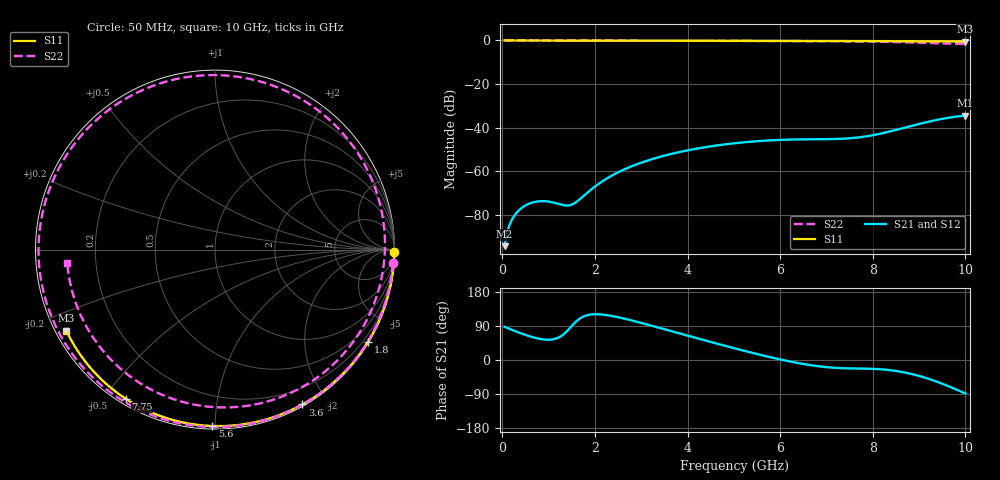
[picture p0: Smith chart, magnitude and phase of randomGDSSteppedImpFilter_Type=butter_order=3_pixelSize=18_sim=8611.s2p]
! freq	dB(S11)	phase(S11)	dB(S12)	phase(S12)
!  dB(S21)	phase(S21)	dB(S22)	phase(S22)
!S-par simulation data
#  GHz  S  DB  R 50
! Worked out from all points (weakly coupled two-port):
!   200 points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, 50 MHz to 10 GHz, reference 50 ohm
!   highest |S21| = -34.52 dB at 10 GHz (marker M1); lowest = -94.5 dB at 50 MHz (marker M2)
!   lowest |S11| = -0.5 dB at 10 GHz (marker M3), VSWR 34.21, Z = 1.56 - j12.7 ohm
!   |S11| at or under -10 dB: nowhere
!   |S22| runs from -1.6 to 0.0 dB; largest |S21 - S12| = 0
!   S11 on the Smith chart (normalised r, x): 50 MHz: open; 1.8 GHz: 0.03, -3.60; 3.6 GHz: 0.02, -1.71; 5.6 GHz: 0.02, -0.99; 7.75 GHz: 0.02, -0.57; 10 GHz: 0.03, -0.25
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0.05  -0.01 -0.9  -94.45 87.5  -94.45 87.5  -0.05 -4.3
0.25  -0.01 -4.4  -80.79 77.5  -80.79 77.5  -0.05 -20.9
0.4  -0.01 -7.0  -77.22 70.5  -77.22 70.5  -0.06 -33.2
0.85  -0.02 -14.8  -73.77 54.9  -73.77 54.9  -0.08 -67.6
1.45  -0.03 -25.1  -75.68 83.1  -75.68 83.1  -0.11 -106.1
1.75  -0.04 -30.2  -71.51 114.5  -71.51 114.5  -0.12 -122.4
1.8  -0.04 -31.1  -70.58 116.9  -70.58 116.9  -0.12 -125.0
2.55  -0.06 -43.6  -60.03 111.5  -60.03 111.5  -0.14 -159.1
3.4  -0.08 -57.4  -53.47 84.6  -53.47 84.6  -0.15 168.5
3.6  -0.08 -60.5  -52.36 77.8  -52.36 77.8  -0.16 161.3
4.3  -0.10 -71.4  -49.29 54.2  -49.29 54.2  -0.18 137.0
5.05  -0.13 -82.8  -47.12 29.7  -47.12 29.7  -0.21 110.8
5.6  -0.15 -90.8  -46.11 12.8  -46.11 12.8  -0.24 90.9
6.15  -0.18 -98.7  -45.55 -2.4  -45.55 -2.4  -0.28 69.9
6.7  -0.21 -106.5  -45.36 -14.4  -45.36 -14.4  -0.32 47.3
7.25  -0.24 -114.1  -45.20 -21.1  -45.20 -21.1  -0.39 22.6
7.75  -0.28 -120.9  -44.37 -22.6  -44.37 -22.6  -0.49 -2.2
8.35  -0.33 -129.0  -41.88 -26.5  -41.88 -26.5  -0.69 -36.3
8.8  -0.37 -135.1  -39.43 -35.9  -39.43 -35.9  -0.92 -66.4
9.2  -0.41 -140.5  -37.34 -49.4  -37.34 -49.4  -1.19 -97.7
9.55  -0.45 -145.2  -35.79 -64.9  -35.79 -64.9  -1.44 -129.2
10  -0.51 -151.4  -34.52 -88.5  -34.52 -88.5  -1.65 -174.8
